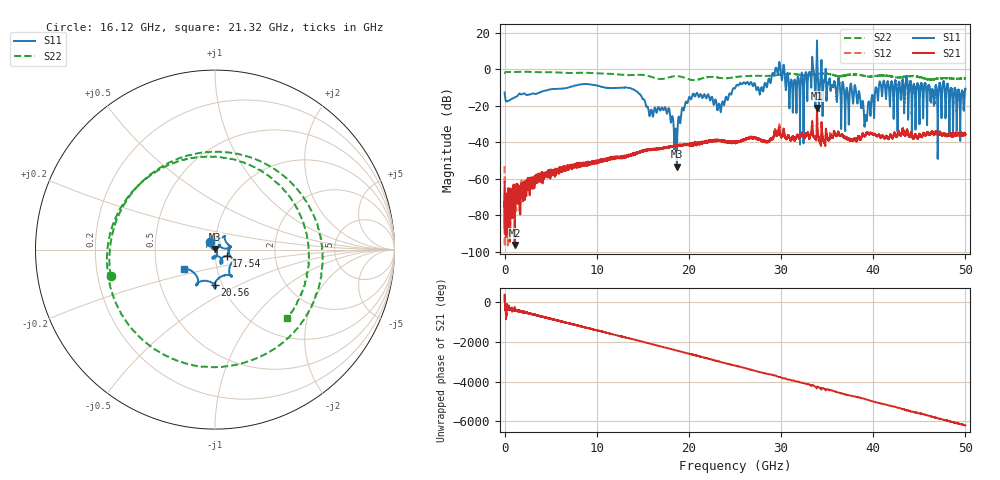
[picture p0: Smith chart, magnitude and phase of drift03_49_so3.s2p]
!Created with skrf (http://scikit-rf.org).
# Hz S RI R 50.0
!freq ReS11 ImS11 ReS21 ImS21 ReS12 ImS12 ReS22 ImS22
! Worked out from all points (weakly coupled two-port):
!   10001 points, 300 kHz to 50 GHz, reference 50 ohm
!   highest |S21| = -21.18 dB at 33.9 GHz (marker M1); lowest = -96.1 dB at 1.095 GHz (marker M2)
!   lowest |S11| = -53.3 dB at 18.7 GHz (marker M3), VSWR 1.00, Z = 50 + j0.217 ohm
!   |S11| at or under -10 dB: start of sweep to 6.943 GHz; 13.32 GHz to 25.05 GHz (11.73 GHz wide, 61.1 % of centre); 38.08 GHz to 40.26 GHz (2.186 GHz wide, 5.58 % of centre) (the widest 3 of 51)
!   |S22| runs from -5.9 to -1.3 dB; largest |S21 - S12| = 0.0081
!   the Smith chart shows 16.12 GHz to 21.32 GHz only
!   S11 on the Smith chart (normalised r, x): 16.12 GHz: 0.94, +0.08; 17.54 GHz: 1.14, -0.08; 20.56 GHz: 0.92, -0.38; 21.32 GHz: 0.69, -0.16
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300000  -0.2117 -0.0977  0.000539 0.000637  0.000599 0.00218  -0.7734 -0.1936
1.095293e9  0.0914 0.143  -2.98e-06 1.53e-05  0.000501 -0.000285  0.4957 0.6856
2.345286e9  0.0187 -0.2009  -0.00089 6.19e-05  -0.000693 -4.86e-05  0.0732 -0.853
3.890277e9  -0.0395 0.2344  0.00126 -8.47e-05  0.0011 0.000146  -0.1058 0.8265
4.845271e9  0.2785 -0.0278  -0.00061 -0.0015  -0.000616 -0.00107  0.8191 -0.1439
6.380262e9  -0.3003 0.0124  0.00068 0.00154  0.00077 0.00182  -0.8055 -0.0123
8.33525e9  0.2841 -0.267  -0.00218 -0.000763  -0.00231 -0.00103  0.6026 -0.5348
9.575243e9  -0.3717 -0.0486  0.00143 0.00233  0.00142 0.00248  -0.7856 -0.0964
1.124523e10  0.3057 0.0231  -0.00235 -0.00253  -0.00232 -0.00258  0.7573 0.0216
1.61202e10  -0.0301 0.0428  0.00602 0.00207  0.00617 0.00201  -0.5811 -0.1476
1.66702e10  0.0537 0.0757  0.00463 -0.00494  0.00458 -0.00503  -0.3609 0.4174
1.753519e10  0.0651 -0.035  -0.0061 -0.00401  -0.00615 -0.00379  0.4981 0.2828
1.869519e10  -9.16e-05 0.00217  0.00254 0.0079  0.0025 0.00801  -0.0877 -0.6492
2.055518e10  -0.00112 -0.1985  -0.00739 -0.00563  -0.00767 -0.0046  0.359 0.3604
2.131517e10  -0.1717 -0.1085  -0.00499 0.00836  -0.00516 0.00813  0.4005 -0.3815
2.500015e10  -0.2967 -0.0485  0.00773 0.00688  0.00735 0.00718  -0.1824 -0.5859
3.051512e10  0.2368 -0.1247  -0.00205 0.013  -0.00218 0.0127  0.7433 -0.0646
3.213011e10  0.2012 0.3722  -0.000571 -0.0151  -0.000123 -0.0152  -0.6951 0.00671
3.33351e10  0.4773 -0.9948  -0.00577 0.0255  -0.0064 0.0238  0.6127 0.3681
3.38951e10  -0.8584 -6.113  0.0872 0.0052  0.0806 0.00551  0.6792 -0.3135
4.167005e10  -0.2194 0.2856  -0.0116 -0.00433  -0.0114 -0.00505  -0.6522 -0.0553
5e10  -0.145 -0.2507  0.000822 -0.0168  0.00216 -0.0157  0.4687 -0.3109
